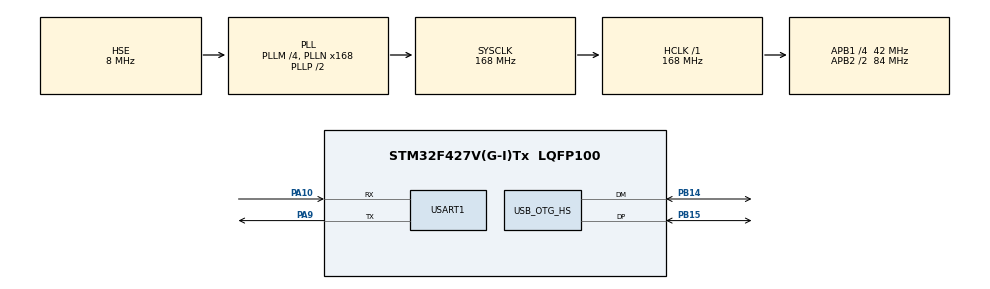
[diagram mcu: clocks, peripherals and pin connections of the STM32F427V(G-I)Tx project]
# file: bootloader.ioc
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Mcu.Family=STM32F4
Mcu.Name=STM32F427V(G-I)Tx
Mcu.Package=LQFP100
NVIC.OTG_HS_IRQn=true\:0\:0\:false\:false\:true\:false\:true\:true
NVIC.PriorityGroup=NVIC_PRIORITYGROUP_4
PA10.Mode=Asynchronous
PA10.Signal=USART1_RX
PA13.Mode=Serial_Wire
PA13.Signal=SYS_JTMS-SWDIO
PA14.Mode=Serial_Wire
PA14.Signal=SYS_JTCK-SWCLK
PA9.Mode=Asynchronous
PA9.Signal=USART1_TX
PB14.Mode=Device_Only_FS
PB14.Signal=USB_OTG_HS_DM
PB15.Mode=Device_Only_FS
PB15.Signal=USB_OTG_HS_DP
PH0/OSC_IN.Mode=HSE-External-Oscillator
PH0/OSC_IN.Signal=RCC_OSC_IN
PH1/OSC_OUT.Mode=HSE-External-Oscillator
PH1/OSC_OUT.Signal=RCC_OSC_OUT
ProjectManager.HeapSize=0x200
ProjectManager.StackSize=0x400
ProjectManager.TargetToolchain=CMake
RCC.48MHZClocksFreq_Value=48000000
RCC.AHBFreq_Value=168000000
RCC.APB1CLKDivider=RCC_HCLK_DIV4
RCC.APB1Freq_Value=42000000
RCC.APB1TimFreq_Value=84000000
RCC.APB2CLKDivider=RCC_HCLK_DIV2
RCC.APB2Freq_Value=84000000
RCC.APB2TimFreq_Value=168000000
RCC.CortexFreq_Value=168000000
RCC.HCLKFreq_Value=168000000
RCC.HSE_VALUE=8000000
RCC.HSI_VALUE=16000000
RCC.LSE_VALUE=32768
RCC.PLLM=4
RCC.PLLN=168
RCC.PLLQ=7
RCC.SYSCLKFreq_VALUE=168000000
RCC.SYSCLKSource=RCC_SYSCLKSOURCE_PLLCLK
RCC.VCOOutputFreq_Value=336000000
USART1.VirtualMode=VM_ASYNC
USB_DEVICE.CLASS_NAME_HS=DFU
USB_DEVICE.USBD_DFU_APP_DEFAULT_ADD-DFU_HS=0x08010000
USB_DEVICE.USBD_DFU_MEDIA-DFU_HS=@DFU STM32/0x08010000/01*064Kg,07*128Kg,04*016Kg,01*064Kg,07*128Kg
USB_DEVICE.USBD_DFU_XFER_SIZE-DFU_HS=1024
USB_DEVICE.USBD_MAX_STR_DESC_SIZ-DFU_HS=512
USB_DEVICE.VirtualMode-DFU_HS=Dfu
USB_DEVICE.VirtualModeHS=Dfu_HS
USB_OTG_HS.VirtualMode-Device_Only_FS=Device_Only_FS
USB_OTG_HS.dma_enable-Device_Only_FS=ENABLE
VP_CRC_VS_CRC.Mode=CRC_Activate
VP_USB_DEVICE_VS_USB_DEVICE_DFU_HS.Mode=DFU_HS
board=custom

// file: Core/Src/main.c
/* USER CODE BEGIN Header */
/**
  ******************************************************************************
  * @file           : main.c
  * @brief          : Main program body
  ******************************************************************************
  * @attention
  *
  * Copyright (c) 2026 STMicroelectronics.
  * All rights reserved.
  *
  * This software is licensed under terms that can be found in the LICENSE file
  * in the root directory of this software component.
  * If no LICENSE file comes with this software, it is provided AS-IS.
  *
  ******************************************************************************
  */
/* USER CODE END Header */
#include "main.h"
#include "usb_device.h"

/* USER CODE BEGIN PD */
#define APP_ADDRESS       0x08010000U
#define APP_FLASH_END      0x08200000U
#define DFU_MAGIC_CODE     0x44465531U
#define SRAM_START_ADDRESS 0x20000000U
#define SRAM_END_ADDRESS   0x20030000U

/* USER CODE END PD */

CRC_HandleTypeDef hcrc;

UART_HandleTypeDef huart1;

void SystemClock_Config(void);
static void MX_GPIO_Init(void);
static void MX_CRC_Init(void);
static void MX_USART1_UART_Init(void);
/* USER CODE BEGIN PFP */
static void Bootloader_JumpToApplication(void);

/* USER CODE END PFP */

int main(void)
{

  /* USER CODE BEGIN 1 */
  __HAL_RCC_PWR_CLK_ENABLE();
  SET_BIT(PWR->CR, PWR_CR_DBP);

  if (RTC->BKP0R != DFU_MAGIC_CODE)
  {
    Bootloader_JumpToApplication();
  }

  RTC->BKP0R = 0U;
  __DSB();
  /* USER CODE END 1 */

  /* MCU Configuration--------------------------------------------------------*/

  /* Reset of all peripherals, Initializes the Flash interface and the Systick. */
  HAL_Init();

  /* Configure the system clock */
  SystemClock_Config();

  /* Initialize all configured peripherals */
  MX_GPIO_Init();
  MX_CRC_Init();
  MX_USB_DEVICE_Init();
  MX_USART1_UART_Init();

  /* Infinite loop */
  while (1)
  {

  }
}

void SystemClock_Config(void)
{
  RCC_OscInitTypeDef RCC_OscInitStruct = {0};
  RCC_ClkInitTypeDef RCC_ClkInitStruct = {0};

  /** Configure the main internal regulator output voltage
  */
  __HAL_RCC_PWR_CLK_ENABLE();
  __HAL_PWR_VOLTAGESCALING_CONFIG(PWR_REGULATOR_VOLTAGE_SCALE1);

  /** Initializes the RCC Oscillators according to the specified parameters
  * in the RCC_OscInitTypeDef structure.
  */
  RCC_OscInitStruct.OscillatorType = RCC_OSCILLATORTYPE_HSE;
  RCC_OscInitStruct.HSEState = RCC_HSE_ON;
  RCC_OscInitStruct.PLL.PLLState = RCC_PLL_ON;
  RCC_OscInitStruct.PLL.PLLSource = RCC_PLLSOURCE_HSE;
  RCC_OscInitStruct.PLL.PLLM = 4;
  RCC_OscInitStruct.PLL.PLLN = 168;
  RCC_OscInitStruct.PLL.PLLP = RCC_PLLP_DIV2;
  RCC_OscInitStruct.PLL.PLLQ = 7;
  if (HAL_RCC_OscConfig(&RCC_OscInitStruct) != HAL_OK)
  {
    Error_Handler();
  }

  /** Initializes the CPU, AHB and APB buses clocks
  */
  RCC_ClkInitStruct.ClockType = RCC_CLOCKTYPE_HCLK|RCC_CLOCKTYPE_SYSCLK
                              |RCC_CLOCKTYPE_PCLK1|RCC_CLOCKTYPE_PCLK2;
  RCC_ClkInitStruct.SYSCLKSource = RCC_SYSCLKSOURCE_PLLCLK;
  RCC_ClkInitStruct.AHBCLKDivider = RCC_SYSCLK_DIV1;
  RCC_ClkInitStruct.APB1CLKDivider = RCC_HCLK_DIV4;
  RCC_ClkInitStruct.APB2CLKDivider = RCC_HCLK_DIV2;

  if (HAL_RCC_ClockConfig(&RCC_ClkInitStruct, FLASH_LATENCY_5) != HAL_OK)
  {
    Error_Handler();
  }
}

static void MX_CRC_Init(void)
{

  hcrc.Instance = CRC;
  if (HAL_CRC_Init(&hcrc) != HAL_OK)
  {
    Error_Handler();
  }

}

static void MX_USART1_UART_Init(void)
{

  huart1.Instance = USART1;
  huart1.Init.BaudRate = 115200;
  huart1.Init.WordLength = UART_WORDLENGTH_8B;
  huart1.Init.StopBits = UART_STOPBITS_1;
  huart1.Init.Parity = UART_PARITY_NONE;
  huart1.Init.Mode = UART_MODE_TX_RX;
  huart1.Init.HwFlowCtl = UART_HWCONTROL_NONE;
  huart1.Init.OverSampling = UART_OVERSAMPLING_16;
  if (HAL_UART_Init(&huart1) != HAL_OK)
  {
    Error_Handler();
  }

}

static void MX_GPIO_Init(void)
{

  /* GPIO Ports Clock Enable */
  __HAL_RCC_GPIOH_CLK_ENABLE();
  __HAL_RCC_GPIOB_CLK_ENABLE();
  __HAL_RCC_GPIOA_CLK_ENABLE();

}

/* USER CODE BEGIN 4 */
static void Bootloader_JumpToApplication(void)
{
  uint32_t appStack = *(__IO uint32_t*)APP_ADDRESS;
  uint32_t appReset = *(__IO uint32_t*)(APP_ADDRESS + 4U);
  uint32_t appResetAddress = appReset & ~1U;

  if ((appStack < SRAM_START_ADDRESS) ||
      (appStack > SRAM_END_ADDRESS) ||
      ((appStack & 0x7U) != 0U) ||
      ((appReset & 1U) == 0U) ||
      (appResetAddress < APP_ADDRESS) ||
      (appResetAddress >= APP_FLASH_END))
  {
    return;
  }

  __disable_irq();
  SysTick->CTRL = 0U;
  SysTick->LOAD = 0U;
  SysTick->VAL = 0U;
  SCB->VTOR = APP_ADDRESS;
  __DSB();
  __ISB();

  __asm volatile ("msr msp, %0\n\t"
                  "cpsie i\n\t"
                  "bx %1\n\t"
                  :
                  : "r" (appStack), "r" (appReset)
                  : "memory");

  for (;;)
  {
  }
}

/* USER CODE END 4 */

void Error_Handler(void)
{
  __disable_irq();
  while (1)
  {
  }
}
